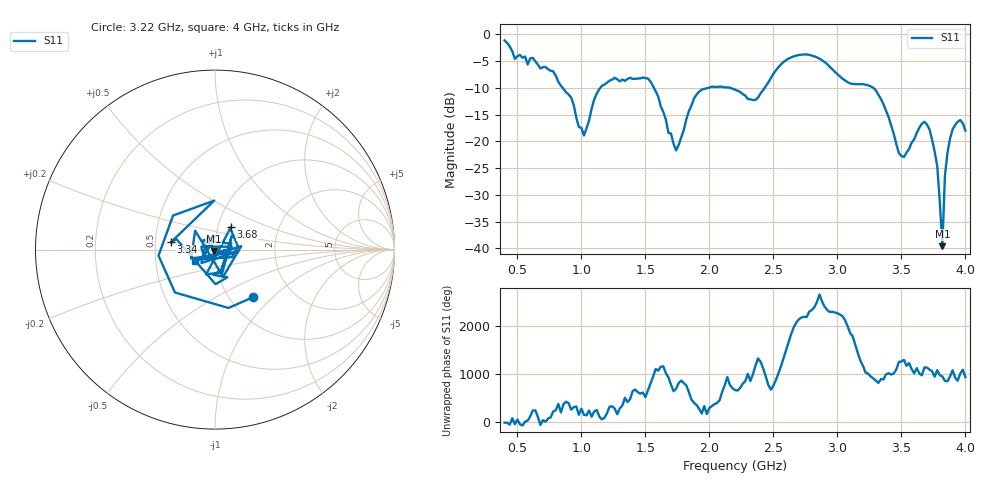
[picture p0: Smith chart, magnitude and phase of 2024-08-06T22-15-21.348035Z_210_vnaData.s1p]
!Created with skrf (http://scikit-rf.org).
# Hz S RI R 50.0
!freq ReS11 ImS11
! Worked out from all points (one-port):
!   181 points, 400 MHz to 4 GHz, reference 50 ohm
!   lowest |S11| = -39.6 dB at 3.82 GHz (marker M1), VSWR 1.02, Z = 49.3 - j0.767 ohm
!   |S11| at or under -10 dB: 853.9 MHz to 1.148 GHz (293.8 MHz wide, 29.4 % of centre); 1.567 GHz to 1.99 GHz (423.6 MHz wide, 23.8 % of centre); 3.28 GHz to end of sweep (the widest 3 of 4)
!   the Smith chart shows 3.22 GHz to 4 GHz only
!   S11 on the Smith chart (normalised r, x): 3.22 GHz: 1.27, -0.77; 3.34 GHz: 0.60, +0.05; 3.68 GHz: 1.15, +0.29; 4 GHz: 0.80, -0.10
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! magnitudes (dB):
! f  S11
! 400 MHz  -1.1
! 480 MHz  -4.6
! 620 MHz  -4.4
! 860 MHz  -10.2
! 1.02 GHz  -18.9
! 1.14 GHz  -10.2
! 1.3 GHz  -8.8
! 1.52 GHz  -8.2
! 1.74 GHz  -21.7
! 1.76 GHz  -20.7
! 1.92 GHz  -10.7
! 2.2 GHz  -10.3
! 2.36 GHz  -12.2
! 2.66 GHz  -4.1
! 2.86 GHz  -4.5
! 3.1 GHz  -9.2
! 3.22 GHz  -9.4
! 3.34 GHz  -12.1
! 3.48 GHz  -22.2
! 3.56 GHz  -21.4
! 3.68 GHz  -16.3
! 3.72 GHz  -17.8
! 3.78 GHz  -24.6
! 3.82 GHz  -39.6
! 3.84 GHz  -26.5
! 3.88 GHz  -19.5
! 3.96 GHz  -16.0
! 4 GHz  -18.0
